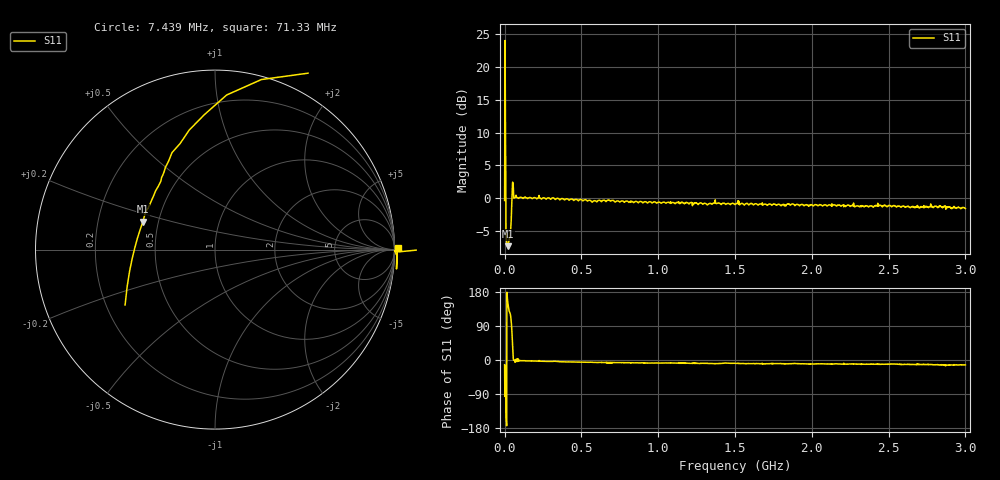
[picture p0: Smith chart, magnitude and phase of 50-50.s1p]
# HZ S RI R 50
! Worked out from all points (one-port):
!   2020 points, 10 kHz to 3 GHz, reference 50 ohm
!   lowest |S11| = -7.3 dB at 19.33 MHz (marker M1), VSWR 2.51, Z = 20.5 + j7.87 ohm
!   |S11| at or under -10 dB: nowhere
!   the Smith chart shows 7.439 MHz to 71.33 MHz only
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10000  0.939 -0.2073
7439395  0.5591 -1.631
1.635467e7  -0.4318 0.0649
1.784055e7  -0.4163 0.1132
1.932643e7  -0.4012 0.1565
2.081231e7  -0.3866 0.212
2.229818e7  -0.3717 0.2319
2.378406e7  -0.3574 0.2652
2.972758e7  -0.3028 0.3789
3.269934e7  -0.2982 0.4003
3.56711e7  -0.2839 0.4327
3.864285e7  -0.2587 0.4924
4.755813e7  0.2582 0.9474
5.944516e7  1.029 -0.0119
6.39028e7  1.008 -0.0215
6.687456e7  1.013 -0.0244
6.984631e7  1.016 0.000728
7.281807e7  1.019 -0.037
9.510626e7  1.006 -0.0324
3.759374e8  0.9908 -0.0832
7.503789e8  0.9275 -0.112
1.126306e9  0.9179 -0.1338
1.500748e9  0.8831 -0.1368
1.875189e9  0.8924 -0.1543
2.251117e9  0.8521 -0.1579
2.625558e9  0.8512 -0.1622
2.872214e9  0.7955 -0.216
3e9  0.8131 -0.1867
